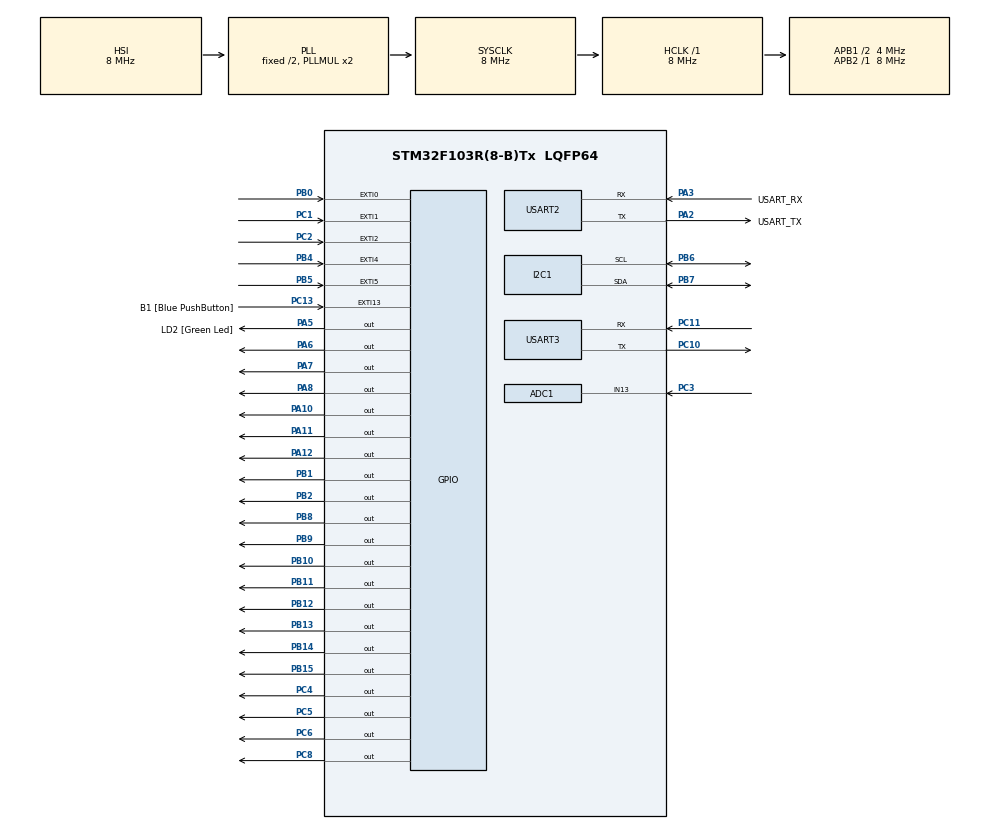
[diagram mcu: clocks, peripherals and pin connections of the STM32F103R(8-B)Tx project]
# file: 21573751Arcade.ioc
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ADC1.Channel-0\#ChannelRegularConversion=ADC_CHANNEL_13
ADC1.NbrOfConversionFlag=1
ADC1.Rank-0\#ChannelRegularConversion=1
ADC1.SamplingTime-0\#ChannelRegularConversion=ADC_SAMPLETIME_1CYCLE_5
ADC1.master=1
Mcu.Family=STM32F1
Mcu.Name=STM32F103R(8-B)Tx
Mcu.Package=LQFP64
NVIC.EXTI0_IRQn=true\:0\:0\:false\:false\:true\:true\:true
NVIC.EXTI15_10_IRQn=true\:0\:0\:false\:false\:true\:true\:true
NVIC.EXTI1_IRQn=true\:0\:0\:false\:false\:true\:true\:true
NVIC.EXTI2_IRQn=true\:0\:0\:false\:false\:true\:true\:true
NVIC.EXTI4_IRQn=true\:0\:0\:false\:false\:true\:true\:true
NVIC.EXTI9_5_IRQn=true\:0\:0\:false\:false\:true\:true\:true
NVIC.PriorityGroup=NVIC_PRIORITYGROUP_4
NVIC.USART3_IRQn=true\:0\:0\:false\:false\:true\:true\:true
PA10.Signal=GPIO_Output
PA11.Signal=GPIO_Output
PA12.Signal=GPIO_Output
PA13.GPIO_Label=TMS
PA13.Mode=Serial_Wire
PA13.Signal=SYS_JTMS-SWDIO
PA14.GPIO_Label=TCK
PA14.Mode=Serial_Wire
PA14.Signal=SYS_JTCK-SWCLK
PA2.GPIO_Label=USART_TX
PA2.GPIO_Mode=GPIO_MODE_AF_PP
PA2.GPIO_PuPd=GPIO_NOPULL
PA2.GPIO_Speed=GPIO_SPEED_FREQ_LOW
PA2.Mode=Asynchronous
PA2.Signal=USART2_TX
PA3.GPIO_Label=USART_RX
PA3.GPIO_Mode=GPIO_MODE_AF_PP
PA3.GPIO_PuPd=GPIO_NOPULL
PA3.GPIO_Speed=GPIO_SPEED_FREQ_LOW
PA3.Mode=Asynchronous
PA3.Signal=USART2_RX
PA5.GPIO_Label=LD2 [Green Led]
PA5.GPIO_ModeDefaultOutputPP=GPIO_MODE_OUTPUT_PP
PA5.GPIO_PuPd=GPIO_NOPULL
PA5.GPIO_Speed=GPIO_SPEED_FREQ_LOW
PA5.Signal=GPIO_Output
PA6.Signal=GPIO_Output
PA7.Signal=GPIO_Output
PA8.Signal=GPIO_Output
PB0.Signal=GPXTI0
PB1.Signal=GPIO_Output
PB10.Signal=GPIO_Output
PB11.Signal=GPIO_Output
PB12.Signal=GPIO_Output
PB13.Signal=GPIO_Output
PB14.Signal=GPIO_Output
PB15.Signal=GPIO_Output
PB2.Signal=GPIO_Output
PB3.GPIO_Label=SWO
PB3.Signal=SYS_JTDO-TRACESWO
PB4.Signal=GPXTI4
PB5.Signal=GPXTI5
PB6.Mode=I2C
PB6.Signal=I2C1_SCL
PB7.Mode=I2C
PB7.Signal=I2C1_SDA
PB8.Signal=GPIO_Output
PB9.Signal=GPIO_Output
PC1.Signal=GPXTI1
PC10.Mode=Asynchronous
PC10.Signal=USART3_TX
PC11.Mode=Asynchronous
PC11.Signal=USART3_RX
PC13-TAMPER-RTC.GPIO_Label=B1 [Blue PushButton]
PC13-TAMPER-RTC.GPIO_PuPd=GPIO_NOPULL
PC13-TAMPER-RTC.Signal=GPXTI13
PC14-OSC32_IN.Mode=LSE-External-Oscillator
PC14-OSC32_IN.Signal=RCC_OSC32_IN
PC15-OSC32_OUT.Mode=LSE-External-Oscillator
PC15-OSC32_OUT.Signal=RCC_OSC32_OUT
PC2.Signal=GPXTI2
PC3.Signal=ADCx_IN13
PC4.Signal=GPIO_Output
PC5.Signal=GPIO_Output
PC6.Signal=GPIO_Output
PC8.Signal=GPIO_Output
PD0-OSC_IN.Mode=HSE-External-Clock-Source
PD0-OSC_IN.Signal=RCC_OSC_IN
PD1-OSC_OUT.Mode=HSE-External-Clock-Source
PD1-OSC_OUT.Signal=RCC_OSC_OUT
ProjectManager.HeapSize=0x200
ProjectManager.StackSize=0x400
ProjectManager.TargetToolchain=STM32CubeIDE
RCC.AHBFreq_Value=8000000
RCC.APB1CLKDivider=RCC_HCLK_DIV2
RCC.APB1Freq_Value=4000000
RCC.APB1TimFreq_Value=8000000
RCC.APB2Freq_Value=8000000
RCC.APB2TimFreq_Value=8000000
RCC.HCLKFreq_Value=8000000
RCC.RTCClockSelection=RCC_RTCCLKSOURCE_LSE
RCC.SYSCLKFreq_VALUE=8000000
RCC.SYSCLKSource=RCC_SYSCLKSOURCE_PLLCLK
RCC.USBFreq_Value=8000000
SH.ADCx_IN13.0=ADC1_IN13,IN13
USART2.VirtualMode=VM_ASYNC
USART3.VirtualMode=VM_ASYNC
board=NUCLEO-F103RB

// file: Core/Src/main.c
/* USER CODE BEGIN Header */
/**
  ******************************************************************************
  * @file           : main.c
  * @brief          : Main program body
  ******************************************************************************
  * @attention
  *
  * <h2><center>&copy; Copyright (c) 2021 STMicroelectronics.
  * All rights reserved.</center></h2>
  *
  * This software component is licensed by ST under BSD 3-Clause license,
  * the "License"; You may not use this file except in compliance with the
  * License. You may obtain a copy of the License at:
  *                        opensource.org/licenses/BSD-3-Clause
  *
  ******************************************************************************
  */
/* USER CODE END Header */

#include "main.h"

ADC_HandleTypeDef hadc1;

I2C_HandleTypeDef hi2c1;

UART_HandleTypeDef huart2;
UART_HandleTypeDef huart3;

/* USER CODE BEGIN PV */
volatile _Bool Up;
volatile _Bool Down;
volatile _Bool Left;
volatile _Bool Right;
volatile _Bool Middle;
uint32_t ms;
uint8_t vel;
_Bool ledMatrix[] = {
		0, 0, 0, 0, 0, 0, 0, 0,
		0, 0, 0, 0, 0, 0, 0, 0,
		0, 0, 0, 0, 0, 0, 0, 0,
		0, 0, 0, 0, 0, 0, 0, 0,
		0, 0, 0, 0, 0, 0, 0, 0,
		0, 0, 0, 0, 0, 0, 0, 0,
		0, 0, 0, 0, 0, 0, 0, 0,
		0, 0, 0, 0, 0, 0, 0, 0,
};
volatile _Bool ms100;
volatile _Bool varTim;
volatile uint32_t mod;
_Bool recd;
uint8_t recduart[10];

/* USER CODE END PV */

void SystemClock_Config(void);
static void MX_GPIO_Init(void);
static void MX_USART2_UART_Init(void);
static void MX_ADC1_Init(void);
static void MX_I2C1_Init(void);
static void MX_USART3_UART_Init(void);
/* USER CODE BEGIN PFP */
void Configuration();
void displayHome();
void resetLED();
void Maze();
void Tennis();
void Tennis2();
/* USER CODE END PFP */

int main(void)
{
  /* USER CODE BEGIN 1 */
	_Bool config = 1;
	ms = 0;
  /* USER CODE END 1 */

  /* MCU Configuration--------------------------------------------------------*/

  /* Reset of all peripherals, Initializes the Flash interface and the Systick. */
  HAL_Init();

  /* Configure the system clock */
  SystemClock_Config();

  /* Initialize all configured peripherals */
  MX_GPIO_Init();
  MX_USART2_UART_Init();
  MX_ADC1_Init();
  MX_I2C1_Init();
  MX_USART3_UART_Init();
  /* USER CODE BEGIN 2 */
	if (config) {
		HAL_Delay(100);
		Configuration();
	}

	Up = 0;
	Down = 0;
	Left = 0;
	Right = 0;
	Middle = 0;
	resetLED();
	displayHome();

  /* USER CODE END 2 */

  /* Infinite loop */
  /* USER CODE BEGIN WHILE */
  while (1)
  {
	  if (Left) {
	  			Up = 0;
	  			Down = 0;
	  			Left = 0;
	  			Right = 0;
	  			Middle = 0;
	  			resetLED();
	  			Maze();
	  			Up = 0;
	  			Down = 0;
	  			Left = 0;
	  			Right = 0;
	  			Middle = 0;
	  			resetLED();
	  			displayHome();
	  		}
	  		else if (Middle) {
	  			Up = 0;
	  			Down = 0;
	  			Left = 0;
	  			Right = 0;
	  			Middle = 0;
	  			resetLED();
	  			Tennis();
	  			Up = 0;
	  			Down = 0;
	  			Left = 0;
	  			Right = 0;
	  			Middle = 0;
	  			resetLED();
	  			displayHome();
	  		}
	  		else if (Right) {
	  			Up = 0;
	  			Down = 0;
	  			Left = 0;
	  			Right = 0;
	  			Middle = 0;
	  			resetLED();
	  			Tennis2();
	  			Up = 0;
	  			Down = 0;
	  			Left = 0;
	  			Right = 0;
	  			Middle = 0;
	  			resetLED();
	  			displayHome();
	  		}

    /* USER CODE END WHILE */

  }
}

void SystemClock_Config(void)
{
  RCC_OscInitTypeDef RCC_OscInitStruct = {0};
  RCC_ClkInitTypeDef RCC_ClkInitStruct = {0};
  RCC_PeriphCLKInitTypeDef PeriphClkInit = {0};

  /** Initializes the CPU, AHB and APB busses clocks
  */
  RCC_OscInitStruct.OscillatorType = RCC_OSCILLATORTYPE_HSI;
  RCC_OscInitStruct.HSIState = RCC_HSI_ON;
  RCC_OscInitStruct.HSICalibrationValue = RCC_HSICALIBRATION_DEFAULT;
  RCC_OscInitStruct.PLL.PLLState = RCC_PLL_ON;
  RCC_OscInitStruct.PLL.PLLSource = RCC_PLLSOURCE_HSI_DIV2;
  RCC_OscInitStruct.PLL.PLLMUL = RCC_PLL_MUL2;
  if (HAL_RCC_OscConfig(&RCC_OscInitStruct) != HAL_OK)
  {
    Error_Handler();
  }
  /** Initializes the CPU, AHB and APB busses clocks
  */
  RCC_ClkInitStruct.ClockType = RCC_CLOCKTYPE_HCLK|RCC_CLOCKTYPE_SYSCLK
                              |RCC_CLOCKTYPE_PCLK1|RCC_CLOCKTYPE_PCLK2;
  RCC_ClkInitStruct.SYSCLKSource = RCC_SYSCLKSOURCE_PLLCLK;
  RCC_ClkInitStruct.AHBCLKDivider = RCC_SYSCLK_DIV1;
  RCC_ClkInitStruct.APB1CLKDivider = RCC_HCLK_DIV2;
  RCC_ClkInitStruct.APB2CLKDivider = RCC_HCLK_DIV1;

  if (HAL_RCC_ClockConfig(&RCC_ClkInitStruct, FLASH_LATENCY_0) != HAL_OK)
  {
    Error_Handler();
  }
  PeriphClkInit.PeriphClockSelection = RCC_PERIPHCLK_ADC;
  PeriphClkInit.AdcClockSelection = RCC_ADCPCLK2_DIV2;
  if (HAL_RCCEx_PeriphCLKConfig(&PeriphClkInit) != HAL_OK)
  {
    Error_Handler();
  }
}

static void MX_ADC1_Init(void)
{

  ADC_ChannelConfTypeDef sConfig = {0};

  /** Common config
  */
  hadc1.Instance = ADC1;
  hadc1.Init.ScanConvMode = ADC_SCAN_DISABLE;
  hadc1.Init.ContinuousConvMode = DISABLE;
  hadc1.Init.DiscontinuousConvMode = DISABLE;
  hadc1.Init.ExternalTrigConv = ADC_SOFTWARE_START;
  hadc1.Init.DataAlign = ADC_DATAALIGN_RIGHT;
  hadc1.Init.NbrOfConversion = 1;
  if (HAL_ADC_Init(&hadc1) != HAL_OK)
  {
    Error_Handler();
  }
  /** Configure Regular Channel
  */
  sConfig.Channel = ADC_CHANNEL_13;
  sConfig.Rank = ADC_REGULAR_RANK_1;
  sConfig.SamplingTime = ADC_SAMPLETIME_1CYCLE_5;
  if (HAL_ADC_ConfigChannel(&hadc1, &sConfig) != HAL_OK)
  {
    Error_Handler();
  }

}

static void MX_I2C1_Init(void)
{

  hi2c1.Instance = I2C1;
  hi2c1.Init.ClockSpeed = 100000;
  hi2c1.Init.DutyCycle = I2C_DUTYCYCLE_2;
  hi2c1.Init.OwnAddress1 = 0;
  hi2c1.Init.AddressingMode = I2C_ADDRESSINGMODE_7BIT;
  hi2c1.Init.DualAddressMode = I2C_DUALADDRESS_DISABLE;
  hi2c1.Init.OwnAddress2 = 0;
  hi2c1.Init.GeneralCallMode = I2C_GENERALCALL_DISABLE;
  hi2c1.Init.NoStretchMode = I2C_NOSTRETCH_DISABLE;
  if (HAL_I2C_Init(&hi2c1) != HAL_OK)
  {
    Error_Handler();
  }

}

static void MX_USART2_UART_Init(void)
{

  huart2.Instance = USART2;
  huart2.Init.BaudRate = 115200;
  huart2.Init.WordLength = UART_WORDLENGTH_8B;
  huart2.Init.StopBits = UART_STOPBITS_1;
  huart2.Init.Parity = UART_PARITY_NONE;
  huart2.Init.Mode = UART_MODE_TX_RX;
  huart2.Init.HwFlowCtl = UART_HWCONTROL_NONE;
  huart2.Init.OverSampling = UART_OVERSAMPLING_16;
  if (HAL_UART_Init(&huart2) != HAL_OK)
  {
    Error_Handler();
  }

}

static void MX_USART3_UART_Init(void)
{

  huart3.Instance = USART3;
  huart3.Init.BaudRate = 115200;
  huart3.Init.WordLength = UART_WORDLENGTH_8B;
  huart3.Init.StopBits = UART_STOPBITS_1;
  huart3.Init.Parity = UART_PARITY_NONE;
  huart3.Init.Mode = UART_MODE_TX_RX;
  huart3.Init.HwFlowCtl = UART_HWCONTROL_NONE;
  huart3.Init.OverSampling = UART_OVERSAMPLING_16;
  if (HAL_UART_Init(&huart3) != HAL_OK)
  {
    Error_Handler();
  }

}

static void MX_GPIO_Init(void)
{
  GPIO_InitTypeDef GPIO_InitStruct = {0};

  /* GPIO Ports Clock Enable */
  __HAL_RCC_GPIOC_CLK_ENABLE();
  __HAL_RCC_GPIOD_CLK_ENABLE();
  __HAL_RCC_GPIOA_CLK_ENABLE();
  __HAL_RCC_GPIOB_CLK_ENABLE();

  /*Configure GPIO pin Output Level */
  HAL_GPIO_WritePin(GPIOA, LD2_Pin|GPIO_PIN_6|GPIO_PIN_7|GPIO_PIN_8
                          |GPIO_PIN_10|GPIO_PIN_11|GPIO_PIN_12, GPIO_PIN_RESET);

  /*Configure GPIO pin Output Level */
  HAL_GPIO_WritePin(GPIOC, GPIO_PIN_4|GPIO_PIN_5|GPIO_PIN_6|GPIO_PIN_8, GPIO_PIN_RESET);

  /*Configure GPIO pin Output Level */
  HAL_GPIO_WritePin(GPIOB, GPIO_PIN_1|GPIO_PIN_2|GPIO_PIN_10|GPIO_PIN_11
                          |GPIO_PIN_12|GPIO_PIN_13|GPIO_PIN_14|GPIO_PIN_15
                          |GPIO_PIN_8|GPIO_PIN_9, GPIO_PIN_RESET);

  /*Configure GPIO pins : B1_Pin PC1 PC2 */
  GPIO_InitStruct.Pin = B1_Pin|GPIO_PIN_1|GPIO_PIN_2;
  GPIO_InitStruct.Mode = GPIO_MODE_IT_RISING;
  GPIO_InitStruct.Pull = GPIO_NOPULL;
  HAL_GPIO_Init(GPIOC, &GPIO_InitStruct);

  /*Configure GPIO pins : LD2_Pin PA6 PA7 PA8
                           PA10 PA11 PA12 */
  GPIO_InitStruct.Pin = LD2_Pin|GPIO_PIN_6|GPIO_PIN_7|GPIO_PIN_8
                          |GPIO_PIN_10|GPIO_PIN_11|GPIO_PIN_12;
  GPIO_InitStruct.Mode = GPIO_MODE_OUTPUT_PP;
  GPIO_InitStruct.Pull = GPIO_NOPULL;
  GPIO_InitStruct.Speed = GPIO_SPEED_FREQ_LOW;
  HAL_GPIO_Init(GPIOA, &GPIO_InitStruct);

  /*Configure GPIO pins : PC4 PC5 PC6 PC8 */
  GPIO_InitStruct.Pin = GPIO_PIN_4|GPIO_PIN_5|GPIO_PIN_6|GPIO_PIN_8;
  GPIO_InitStruct.Mode = GPIO_MODE_OUTPUT_PP;
  GPIO_InitStruct.Pull = GPIO_NOPULL;
  GPIO_InitStruct.Speed = GPIO_SPEED_FREQ_LOW;
  HAL_GPIO_Init(GPIOC, &GPIO_InitStruct);

  /*Configure GPIO pins : PB0 PB4 PB5 */
  GPIO_InitStruct.Pin = GPIO_PIN_0|GPIO_PIN_4|GPIO_PIN_5;
  GPIO_InitStruct.Mode = GPIO_MODE_IT_RISING;
  GPIO_InitStruct.Pull = GPIO_NOPULL;
  HAL_GPIO_Init(GPIOB, &GPIO_InitStruct);

  /*Configure GPIO pins : PB1 PB2 PB10 PB11
                           PB12 PB13 PB14 PB15
                           PB8 PB9 */
  GPIO_InitStruct.Pin = GPIO_PIN_1|GPIO_PIN_2|GPIO_PIN_10|GPIO_PIN_11
                          |GPIO_PIN_12|GPIO_PIN_13|GPIO_PIN_14|GPIO_PIN_15
                          |GPIO_PIN_8|GPIO_PIN_9;
  GPIO_InitStruct.Mode = GPIO_MODE_OUTPUT_PP;
  GPIO_InitStruct.Pull = GPIO_NOPULL;
  GPIO_InitStruct.Speed = GPIO_SPEED_FREQ_LOW;
  HAL_GPIO_Init(GPIOB, &GPIO_InitStruct);

  /* EXTI interrupt init*/
  HAL_NVIC_SetPriority(EXTI0_IRQn, 0, 0);
  HAL_NVIC_EnableIRQ(EXTI0_IRQn);

  HAL_NVIC_SetPriority(EXTI1_IRQn, 0, 0);
  HAL_NVIC_EnableIRQ(EXTI1_IRQn);

  HAL_NVIC_SetPriority(EXTI2_IRQn, 0, 0);
  HAL_NVIC_EnableIRQ(EXTI2_IRQn);

  HAL_NVIC_SetPriority(EXTI4_IRQn, 0, 0);
  HAL_NVIC_EnableIRQ(EXTI4_IRQn);

  HAL_NVIC_SetPriority(EXTI9_5_IRQn, 0, 0);
  HAL_NVIC_EnableIRQ(EXTI9_5_IRQn);

  HAL_NVIC_SetPriority(EXTI15_10_IRQn, 0, 0);
  HAL_NVIC_EnableIRQ(EXTI15_10_IRQn);

}

/* USER CODE BEGIN 4 */
void Configuration()
{
	uint32_t now = 0;
	uint8_t i = 0;
	uint8_t posStr[] = "$1_______\n";

	HAL_UART_Transmit(&huart2,(uint8_t*) "$21573751\n", 10, 100);
	posStr[2] = '0';
	HAL_UART_Transmit(&huart2, posStr, 10, 100);
	now = ms;
	for (i = 0; i<8; i++){
		ledMatrix[8*i] = 1;
	}
	while((ms-now)<1000){
	}
	for (i = 0; i<8; i++){
		ledMatrix[8*i] = 0;
	}

	posStr[2] = '1';
	HAL_UART_Transmit(&huart2, posStr, 10, 100);
	now = ms;
	for (i = 0; i<8; i++){
		ledMatrix[8*i+1] = 1;
	}
	while((ms-now)<1000){
	}
	for (i = 0; i<8; i++){
		ledMatrix[8*i+1] = 0;
	}

	posStr[2] = '2';
	HAL_UART_Transmit(&huart2,posStr, 10, 100);
	now = ms;
	for (i = 0; i<8; i++){
		ledMatrix[8*i+2] = 1;
	}
	while((ms-now)<1000){
	}
	for (i = 0; i<8; i++){
		ledMatrix[8*i+2] = 0;
	}

	posStr[2] = '3';
	HAL_UART_Transmit(&huart2,posStr, 10, 100);
	now = ms;
	for (i = 0; i<8; i++){
		ledMatrix[8*i+3] = 1;
	}
	while((ms-now)<1000){
	}
	for (i = 0; i<8; i++){
		ledMatrix[8*i+3] = 0;
	}

	posStr[2] = '4';
	HAL_UART_Transmit(&huart2, posStr, 10, 100);
	now = ms;
	for (i = 0; i<8; i++){
		ledMatrix[8*i+4] = 1;
	}
	while((ms-now)<1000){
	}
	for (i = 0; i<8; i++){
		ledMatrix[8*i+4] = 0;
	}

	posStr[2] = '5';
	HAL_UART_Transmit(&huart2, posStr, 10, 100);
	now = ms;
	for (i = 0; i<8; i++){
		ledMatrix[8*i+5] = 1;
	}
	while((ms-now)<1000){
	}
	for (i = 0; i<8; i++){
		ledMatrix[8*i+5] = 0;
	}

	posStr[2] = '6';
	HAL_UART_Transmit(&huart2, posStr, 10, 100);
	now = ms;
	for (i = 0; i<8; i++){
		ledMatrix[8*i+6] = 1;
	}
	while((ms-now)<1000){
	}
	for (i = 0; i<8; i++){
		ledMatrix[8*i+6] = 0;
	}

	posStr[2] = '7';
	HAL_UART_Transmit(&huart2, posStr, 10, 100);
	now = ms;
	for (i = 0; i<8; i++){
		ledMatrix[8*i+7] = 1;
	}
	while((ms-now)<1000){
	}
	for (i = 0; i<8; i++){
		ledMatrix[8*i+7] = 0;
	}

	return;
}

void displayHome()
{
	ledMatrix[0] = 1;
	ledMatrix[7] = 1;
	ledMatrix[56] = 1;
	ledMatrix[63] = 1;

	return;
}

void resetLED(){
	uint8_t i = 0;
	uint8_t j = 0;

	for (i = 0; i<8; i++){
		for (j = 0; j<8; j++){
			ledMatrix[i+8*j] = 0;
		}
	}
}

void Maze()
{
	uint8_t xpos = 0;
	uint8_t ypos = 0;
	uint8_t endPosX = 7;
	uint8_t endPosY = 7;
	uint8_t posStr[] = "$300_____\n";
	_Bool gameEnd = 0;
	uint8_t maze1[] = {
			0, 0, 0, 0, 0, 0, 1, 0,
			1, 1, 0, 1, 1, 0, 0, 0,
			0, 0, 0, 0, 0, 0, 1, 0,
			0, 1, 1, 1, 1, 1, 0, 1,
			0, 0, 0, 0, 1, 0, 0, 0,
			1, 1, 0, 1, 1, 0, 1, 0,
			0, 0, 0, 1, 0, 0, 1, 0,
			0, 1, 0, 0, 0, 1, 1, 0,
	};
	uint8_t maze2[] = {
			0, 0, 0, 0, 0, 0, 0, 0,
			0, 1, 0, 1, 0, 1, 1, 0,
			0, 0, 1, 0, 1, 0, 0, 0,
			0, 1, 0, 0, 0, 0, 1, 1,
			0, 0, 1, 1, 1, 1, 0, 0,
			1, 0, 1, 0, 0, 1, 1, 0,
			0, 0, 1, 0, 0, 0, 1, 0,
			0, 0, 0, 0, 1, 0, 0, 0,
	};
	uint8_t maze3[] = {
			0, 0, 0, 1, 1, 0, 0, 0,
			0, 1, 0, 0, 1, 0, 1, 0,
			0, 0, 1, 0, 1, 0, 1, 0,
			1, 0, 1, 0, 0, 0, 1, 0,
			0, 0, 1, 0, 1, 1, 1, 0,
			0, 1, 0, 0, 1, 0, 0, 0,
			0, 1, 0, 1, 1, 0, 1, 1,
			0, 0, 0, 0, 1, 0, 0, 0,
	};
	uint8_t maze4[] = {
			0, 1, 0, 1, 0, 0, 0, 0,
			0, 1, 0, 0, 0, 1, 1, 0,
			0, 1, 1, 1, 1, 0, 0, 0,
			0, 1, 0, 0, 1, 0, 1, 0,
			0, 1, 0, 1, 0, 0, 1, 0,
			0, 0, 0, 0, 0, 1, 0, 0,
			1, 1, 1, 1, 1, 1, 0, 1,
			0, 0, 0, 0, 0, 0, 0, 0,
	};
	uint8_t one[] = {
			0, 0, 0, 0, 0, 0, 0, 0,
			0, 0, 0, 1, 0, 0, 0, 0,
			0, 0, 0, 1, 0, 0, 0, 0,
			0, 0, 0, 1, 0, 0, 0, 0,
			0, 0, 0, 1, 0, 0, 0, 0,
			0, 0, 0, 1, 0, 0, 0, 0,
			0, 0, 0, 1, 0, 0, 0, 0,
			0, 0, 0, 0, 0, 0, 0, 0,
	};
	uint8_t two[] = {
			0, 0, 0, 0, 0, 0, 0, 0,
			0, 0, 0, 1, 1, 0, 0, 0,
			0, 0, 1, 0, 0, 1, 0, 0,
			0, 0, 0, 0, 0, 1, 0, 0,
			0, 0, 0, 0, 1, 0, 0, 0,
			0, 0, 0, 1, 0, 0, 0, 0,
			0, 0, 1, 1, 1, 1, 0, 0,
			0, 0, 0, 0, 0, 0, 0, 0,
	};
	uint8_t three[] = {
			0, 0, 0, 0, 0, 0, 0, 0,
			0, 0, 1, 1, 0, 0, 0, 0,
			0, 0, 0, 0, 1, 0, 0, 0,
			0, 0, 1, 1, 0, 0, 0, 0,
			0, 0, 0, 0, 1, 0, 0, 0,
			0, 0, 0, 0, 1, 0, 0, 0,
			0, 0, 1, 1, 0, 0, 0, 0,
			0, 0, 0, 0, 0, 0, 0, 0,
	};
	uint8_t four[] = {
			0, 0, 0, 0, 0, 0, 0, 0,
			0, 0, 0, 0, 0, 0, 1, 0,
			0, 0, 0, 0, 0, 1, 0, 0,
			0, 0, 0, 0, 1, 0, 0, 0,
			0, 0, 0, 1, 0, 1, 0, 0,
			0, 0, 1, 1, 1, 1, 1, 0,
			0, 0, 0, 0, 0, 1, 0, 0,
			0, 0, 0, 0, 0, 0, 0, 0,
	};
	uint8_t i = 0;
	uint8_t j = 0;
	_Bool ledOn = 0;
	uint8_t mazeNumber = 1;
	_Bool changeMaze = 0;
	uint8_t i2c[2];
	int16_t imuX;
	int16_t imuY;

	Up = 0;
	Down = 0;
	Middle = 0;

	for (i = 0; i<8; i++){
		for (j = 0; j<8; j++){
			ledMatrix[8*i+j] = one[8*i+j];
		}
		HAL_GPIO_WritePin(LED1A, LED1, GPIO_PIN_SET);
	}
	while(!Middle){
		if(Up) {
			mazeNumber++;
			if (mazeNumber>4){
				mazeNumber = 4;
			}
			changeMaze = 1;
			Up = 0;
		}
		if(Down){
			mazeNumber--;
			if (mazeNumber < 1){
				mazeNumber = 1;
			}
			changeMaze = 1;
			Down = 0;
		}
		if (changeMaze) {
			HAL_GPIO_WritePin(LED1A, LED1, GPIO_PIN_RESET);
			HAL_GPIO_WritePin(LED2A, LED2, GPIO_PIN_RESET);
			HAL_GPIO_WritePin(LED3A, LED3, GPIO_PIN_RESET);
			HAL_GPIO_WritePin(LED4A, LED4, GPIO_PIN_RESET);
			switch (mazeNumber){
			case 1:
				for (i = 0; i<8; i++){
					for (j = 0; j<8; j++){
						ledMatrix[8*i+j] = one[8*i+j];
					}
				}
				HAL_GPIO_WritePin(LED1A, LED1, GPIO_PIN_SET);
				break;
			case 2:
				for (i = 0; i<8; i++){
					for (j = 0; j<8; j++){
						ledMatrix[8*i+j] = two[8*i+j];
					}
				}
				HAL_GPIO_WritePin(LED2A, LED2, GPIO_PIN_SET);
				break;
			case 3:
				for (i = 0; i<8; i++){
					for (j = 0; j<8; j++){
						ledMatrix[8*i+j] = three[8*i+j];
					}
				}
				HAL_GPIO_WritePin(LED3A, LED3, GPIO_PIN_SET);
				break;
			case 4:
				for (i = 0; i<8; i++){
					for (j = 0; j<8; j++){
						ledMatrix[8*i+j] = four[8*i+j];
					}
				}
				HAL_GPIO_WritePin(LED4A, LED4, GPIO_PIN_SET);
				break;
			}
			changeMaze = 0;
		}
	}

	Middle = 0;
	switch (mazeNumber){
	case 1:
		for (i = 0; i<8; i++){
			for (j = 0; j<8; j++){
				ledMatrix[8*i+j] = maze1[8*i+j];
			}
		}
		endPosX = 7;
		endPosY = 7;
		break;
	case 2:
		for (i = 0; i<8; i++){
			for (j = 0; j<8; j++){
				ledMatrix[8*i+j] = maze2[8*i+j];
			}
		}
		endPosX = 3;
		endPosY = 3;
		break;
	case 3:
		for (i = 0; i<8; i++){
			for (j = 0; j<8; j++){
				ledMatrix[8*i+j] = maze3[8*i+j];
			}
		}
		endPosX = 7;
		endPosY = 7;
		break;
	case 4:
		for (i = 0; i<8; i++){
			for (j = 0; j<8; j++){
				ledMatrix[8*i+j] = maze4[8*i+j];
			}
		}
		endPosX = 2;
		endPosY = 0;
		break;
	}
	vel = 9;
	mod = 0;
	ms100 = 0;
	varTim = 0;

	while(!varTim){
	}
	while ((!Middle)&&(!gameEnd))
	{
		if(ms100)
		{
			ms100 = 0;
			ledMatrix[endPosX + 8*endPosY] = 1 - ledMatrix[endPosX + 8*endPosY];
		}
		if(varTim)
		{
			ledOn = 1 - ledOn;
			varTim = 0;
			if(Left && xpos>0 && ((ledMatrix[xpos-1 + 8*ypos] == 0)||((xpos == endPosX+1) && (ypos == endPosY))))
			{
				ledMatrix[xpos+8*ypos] = 0;
				xpos -= 1;
			}
			else if(Right && xpos<7  && ((ledMatrix[xpos+1 + 8*ypos] == 0)||((xpos == endPosX-1) && (ypos == endPosY))))
			{
				ledMatrix[xpos+8*ypos] = 0;
				xpos += 1;
			}
			Left = 0;
			Right = 0;
			if(Up && ypos>0 && ((ledMatrix[xpos + 8*(ypos-1)] == 0)||((xpos == endPosX) && (ypos == endPosY+1))))
			{
				ledMatrix[xpos+8*ypos] = 0;
				ypos -= 1;
			}
			else if(Down && ypos<7  && ((ledMatrix[xpos + 8*(ypos+1)] == 0)||((xpos == endPosX) && (ypos == endPosY-1))))
			{
				ledMatrix[xpos+8*ypos] = 0;
				ypos += 1;
			}
			Up = 0;
			Down = 0;

			posStr[6] = 'N';
			i2c[0] = 0x37;
			HAL_I2C_Mem_Write(&hi2c1, 0x32, 0x20, 1, (uint8_t*) i2c, 1, 100);
			i2c[0] = 0x08;
			HAL_I2C_Mem_Write(&hi2c1, 0x32, 0x23, 1, (uint8_t*) i2c, 1, 100);
			HAL_I2C_Mem_Read(&hi2c1, 0x33, 0xA8, 1, i2c, 2, 100);
			imuX = (i2c[1]<<4)+(i2c[0]>>4);
			if ((imuX>>11) == 1){
				imuX = (0xF<<12) + imuX;
			}
			if (imuX>512) {
				if (xpos>0 && ((ledMatrix[xpos-1 + 8*ypos] == 0)||((xpos == endPosX+1) && (ypos == endPosY)))) {
					ledMatrix[xpos+8*ypos] = 0;
					xpos--;
				}
				posStr[6] = 'L';
			}
			else if (imuX<-512) {
				if (xpos<7  && ((ledMatrix[xpos+1 + 8*ypos] == 0)||((xpos == endPosX-1) && (ypos == endPosY)))) {
					ledMatrix[xpos+8*ypos] = 0;
					xpos++;
				}
				posStr[6] = 'R';
			}
			HAL_I2C_Mem_Read(&hi2c1, 0x33, 0xAA, 1, i2c, 2, 100);
			imuY = (i2c[1]<<4)+(i2c[0]>>4);
			if ((imuY>>11) == 1){
				imuY = (0xF<<12) + imuY;
			}
			if (imuY>512) {
				if (ypos<7  && ((ledMatrix[xpos + 8*(ypos+1)] == 0)||((xpos == endPosX) && (ypos == endPosY-1)))) {
					ledMatrix[xpos+8*ypos] = 0;
					ypos++;
				}
				posStr[6] = 'D';
			}
			else if (imuY<-512) {
				if (ypos>0 && ((ledMatrix[xpos + 8*(ypos-1)] == 0)||((xpos == endPosX) && (ypos == endPosY+1)))) {
					ledMatrix[xpos+8*ypos] = 0;
					ypos--;
				}
				posStr[6] = 'U';
			}

			if (ledOn){
				ledMatrix[xpos+8*ypos] = 1;
			}
			else {
				ledMatrix[xpos+8*ypos] = 0;
			}
			posStr[2] = xpos+48;
			posStr[3] = ypos+48;
			if (ledMatrix[xpos+8*ypos]) {
				posStr[4] = 49;
			}
			else {
				posStr[4] = 48;
			}
			if (ledMatrix[63]) {
				posStr[5] = 49;
			}
			else {
				posStr[5] = 48;
			}
			HAL_UART_Transmit(&huart2, posStr, 10, 100);
			if ((xpos == endPosX) && (ypos == endPosY))
			{
				gameEnd = 1;
			}
		}
	}
	HAL_GPIO_WritePin(LED1A, LED1, GPIO_PIN_RESET);
	HAL_GPIO_WritePin(LED2A, LED2, GPIO_PIN_RESET);
	HAL_GPIO_WritePin(LED3A, LED3, GPIO_PIN_RESET);
	HAL_GPIO_WritePin(LED4A, LED4, GPIO_PIN_RESET);
	return;
}

void Tennis()
{
	uint8_t xpos = 0;
	uint8_t ypos = 4;
	uint8_t xpospre = 0;
	uint8_t ypospre = 0;
	uint8_t posStr[] = "$200_____\n";
	uint8_t ballX = 7;
	uint8_t ballY = 4;
	uint8_t ballXpre = 0;
	uint8_t ballYpre = 0;
	uint8_t dir = 0;
	uint8_t hitCtr = 0;
	_Bool gameEnd = 0;
	uint8_t i2c[2];
	int16_t imuX;
	int16_t imuY;

	vel = 1;
	mod = 0;
	varTim = 0;
	while(!varTim){
	}
	varTim = 0;
	ms100 = 0;
	while(!ms100){
	}
	ms100 = 0;

	posStr[8] = 'N';
	i2c[0] = 0x37;
	HAL_I2C_Mem_Write(&hi2c1, 0x32, 0x20, 1, (uint8_t*) i2c, 1, 100);
	i2c[0] = 0x08;
	HAL_I2C_Mem_Write(&hi2c1, 0x32, 0x23, 1, (uint8_t*) i2c, 1, 100);
	HAL_I2C_Mem_Read(&hi2c1, 0x33, 0xA8, 1, i2c, 2, 100);
	imuX = (i2c[1]<<4)+(i2c[0]>>4);
	if ((imuX>>11) == 1){
		imuX = (0xF<<12) + imuX;
	}
	if (imuX>512) {
		if (xpos>0) {
			xpos--;
		}
		posStr[8] = 'L';
	}
	else if (imuX<-512) {
		if (xpos<7) {
			xpos++;
		}
		posStr[8] = 'R';
	}
	HAL_I2C_Mem_Read(&hi2c1, 0x33, 0xAA, 1, i2c, 2, 100);
	imuY = (i2c[1]<<4)+(i2c[0]>>4);
	if ((imuY>>11) == 1){
		imuY = (0xF<<12) + imuY;
	}
	if (imuY>512) {
		if (ypos<6) {
			ypos++;
		}
		posStr[8] = 'D';
	}
	else if (imuY<-512) {
		if (ypos>0) {
			ypos--;
		}
		posStr[8] = 'U';
	}
	ledMatrix[xpos+8*ypos] = 1;
	ledMatrix[xpos+8*(ypos+1)] = 1;
	ledMatrix[ballX + 8*ballY] = 1;
	posStr[2] = ballX+48;
	posStr[3] = ballY+48;
	posStr[4] = vel+48;
	posStr[5] = dir+48;
	posStr[6] = xpos+48;
	posStr[7] = ypos+48;
	HAL_UART_Transmit(&huart2, posStr, 10, 100);
	Up = 0;
	Down = 0;
	Left = 0;
	Right = 0;

	while((!Middle)&&(!gameEnd)){
		if(ms100){
			ms100 = 0;
			xpospre = xpos;
			ypospre = ypos;
			if(Up) {
				if (ypos>0){
					ypos--;
				}
			}
			else if(Down) {
				if (ypos<6){
					ypos++;
				}
			}
			if(Right) {
				if (xpos<7){
					xpos++;
				}
			}
			else if(Left) {
				if (xpos>0){
					xpos--;
				}
			}
			Up = 0;
			Down = 0;
			Left = 0;
			Right = 0;

			posStr[8] = 'N';
			i2c[0] = 0x37;
			HAL_I2C_Mem_Write(&hi2c1, 0x32, 0x20, 1, (uint8_t*) i2c, 1, 100);
			i2c[0] = 0x08;
			HAL_I2C_Mem_Write(&hi2c1, 0x32, 0x23, 1, (uint8_t*) i2c, 1, 100);
			HAL_I2C_Mem_Read(&hi2c1, 0x33, 0xA8, 1, i2c, 2, 100);
			imuX = (i2c[1]<<4)+(i2c[0]>>4);
			if ((imuX>>11) == 1){
				imuX = (0xF<<12) + imuX;
			}
			if (imuX>512) {
				if (xpos>0) {
					xpos--;
				}
				posStr[8] = 'L';
			}
			else if (imuX<-512) {
				if (xpos<7) {
					xpos++;
				}
				posStr[8] = 'R';
			}
			HAL_I2C_Mem_Read(&hi2c1, 0x33, 0xAA, 1, i2c, 2, 100);
			imuY = (i2c[1]<<4)+(i2c[0]>>4);
			if ((imuY>>11) == 1){
				imuY = (0xF<<12) + imuY;
			}
			if (imuY>512) {
				if (ypos<6) {
					ypos++;
				}
				posStr[8] = 'D';
			}
			else if (imuY<-512) {
				if (ypos>0) {
					ypos--;
				}
				posStr[8] = 'U';
			}

			ledMatrix[xpospre+8*ypospre] = 0;
			ledMatrix[xpospre+8*(ypospre+1)] = 0;
			ledMatrix[xpos+8*ypos] = 1;
			ledMatrix[xpos+8*(ypos+1)] = 1;
			ledMatrix[ballX + 8*ballY] = 1;
			posStr[2] = ballX+48;
			posStr[3] = ballY+48;
			posStr[4] = vel+48;
			posStr[5] = dir+48;
			posStr[6] = xpos+48;
			posStr[7] = ypos+48;
			HAL_UART_Transmit(&huart2, posStr, 10, 100);
		}
		if (varTim)
		{
			varTim = 0;
			ballXpre = ballX;
			ballYpre = ballY;
			switch(dir) {
			case 0:
				if (ledMatrix[ballX-1 + 8*ballY])
				{
					if(ballY == ypos)
					{
						ballX++;
						ballY--;
						dir = 4;
						hitCtr++;
					}
					else if(ballY == (ypos+1))
					{
						ballX++;
						ballY++;
						dir = 2;
						hitCtr++;
					}
				}
				else {
					ballX--;
				}
				break;
			case 1:
				if ((ballX+1) > 7)
				{
					ballX--;
					dir = 0;
				}
				else {
					ballX++;
				}
				break;
			case 2:
				if (((ballX+1) > 7) && ((ballY+1) > 7))
				{
					ballX--;
					ballY--;
					dir = 3;
				}
				else if ((ballX+1) > 7)
				{
					ballX--;
					ballY++;
					dir = 5;
				}
				else if ((ballY+1) > 7)
				{
					ballX++;
					ballY--;
					dir = 4;
				}
				else {
					ballX++;
					ballY++;
				}
				break;
			case 3:
				if ((ballY-1) < 0)
				{
					if (ledMatrix[ballX-1 + 8*(ballY+1)]){
						ballX++;
						ballY++;
						dir = 2;
						hitCtr++;
					}
					else {
						ballX--;
						ballY++;
						dir = 5;
					}
				}
				else if (ledMatrix[ballX-1 + 8*(ballY-1)])
				{
					if((ballY-1) == ypos)
					{
						ballX++;
						ballY--;
						dir = 4;
						hitCtr++;
					}
					else if((ballY-1) == (ypos+1))
					{
						ballX++;
						ballY++;
						dir = 2;
						hitCtr++;
					}
				}
				else{
					ballX--;
					ballY--;
				}
				break;
			case 4:
				if (((ballX+1) > 7) && ((ballY-1) < 0))
				{
					ballX--;
					ballY++;
					dir = 5;
				}
				else if ((ballX+1) > 7)
				{
					ballX--;
					ballY--;
					dir = 3;
				}
				else if ((ballY-1) < 0)
				{
					ballX++;
					ballY++;
					dir = 2;
				}
				else{
					ballX++;
					ballY--;
				}
				break;
			case 5:
				if ((ballY+1) > 7)
				{
					if (ledMatrix[ballX-1 + 8*(ballY-1)]){
						ballX++;
						ballY--;
						dir = 4;
						hitCtr++;
					}
					else {
						ballX--;
						ballY--;
						dir = 3;
					}
				}
				else if (ledMatrix[ballX-1 + 8*(ballY+1)])
				{
					if((ballY+1) == ypos)
					{
						ballX++;
						ballY--;
						dir = 4;
						hitCtr++;
					}
					else if((ballY+1) == (ypos+1))
					{
						ballX++;
						ballY++;
						dir = 2;
						hitCtr++;
					}
				}
				else {
					ballX--;
					ballY++;
				}
				break;
			}
			ledMatrix[ballXpre + 8*ballYpre] = 0;
			ledMatrix[ballX + 8*ballY] = 1;

			if (ballX == 0)
			{
				while (!ms100){
				}
				posStr[2] = ballX+48;
				posStr[3] = ballY+48;
				posStr[4] = vel+48;
				posStr[5] = dir+48;
				posStr[6] = xpos+48;
				posStr[7] = ypos+48;
				HAL_UART_Transmit(&huart2, posStr, 10, 100);
				while (!varTim){
				}
				varTim = 0;
				gameEnd = 1;
			}
			else if((hitCtr==3)&&(vel<10))
			{
				vel++;
				mod = ms%(750-vel*50);
				hitCtr=0;
			}
		}
	}
	return;
}

void Tennis2()
{
	uint8_t xpos = 0;
	uint8_t ypos = 4;
	uint8_t xpospre = 0;
	uint8_t ypospre = 0;
	uint8_t posStr[] = "$2_______\n";
	uint8_t posStrEnd[] = "$2_______\n";
	uint8_t ballX = 7;
	uint8_t ballY = 4;
	uint8_t ballXpre = 0;
	uint8_t ballYpre = 0;
	uint8_t dir = 0;
	uint8_t hitCtr = 0;
	_Bool gameEnd = 0;
	_Bool gameEndO = 0;
	uint8_t i2c[2];
	int16_t imuX;
	int16_t imuY;
	_Bool rec = 0;

	HAL_UART_Transmit(&huart3, posStrEnd, 10, 100);
	vel = 1;
	mod = 0;
	varTim = 0;
	while(!varTim){
	}
	varTim = 0;
	ms100 = 0;
	while(!ms100){
	}
	ms100 = 0;

	posStr[8] = 'N';
	i2c[0] = 0x37;
	HAL_I2C_Mem_Write(&hi2c1, 0x32, 0x20, 1, (uint8_t*) i2c, 1, 100);
	i2c[0] = 0x08;
	HAL_I2C_Mem_Write(&hi2c1, 0x32, 0x23, 1, (uint8_t*) i2c, 1, 100);
	HAL_I2C_Mem_Read(&hi2c1, 0x33, 0xA8, 1, i2c, 2, 100);
	imuX = (i2c[1]<<4)+(i2c[0]>>4);
	if ((imuX>>11) == 1){
		imuX = (0xF<<12) + imuX;
	}
	if (imuX>512) {
		if (xpos>0) {
			xpos--;
		}
		posStr[8] = 'L';
	}
	else if (imuX<-512) {
		if (xpos<7) {
			xpos++;
		}
		posStr[8] = 'R';
	}
	HAL_I2C_Mem_Read(&hi2c1, 0x33, 0xAA, 1, i2c, 2, 100);
	imuY = (i2c[1]<<4)+(i2c[0]>>4);
	if ((imuY>>11) == 1){
		imuY = (0xF<<12) + imuY;
	}
	if (imuY>512) {
		if (ypos<6) {
			ypos++;
		}
		posStr[8] = 'D';
	}
	else if (imuY<-512) {
		if (ypos>0) {
			ypos--;
		}
		posStr[8] = 'U';
	}
	ledMatrix[xpos+8*ypos] = 1;
	ledMatrix[xpos+8*(ypos+1)] = 1;
	ledMatrix[ballX + 8*ballY] = 1;
	posStr[2] = ballX+48;
	posStr[3] = ballY+48;
	posStr[4] = vel+48;
	posStr[5] = dir+48;
	posStr[6] = xpos+48;
	posStr[7] = ypos+48;
	HAL_UART_Transmit(&huart2, posStr, 10, 100);
	Up = 0;
	Down = 0;
	Left = 0;
	Right = 0;
	HAL_UART_Receive_IT(&huart3, posStr, 10);
	recd = 0;

	while((!Middle)&&(!gameEnd)){
		if(ms100){
			ms100 = 0;
			xpospre = xpos;
			ypospre = ypos;
			if(Up) {
				if (ypos>0){
					ypos--;
				}
			}
			else if(Down) {
				if (ypos<6){
					ypos++;
				}
			}
			if(Right) {
				if (xpos<7){
					xpos++;
				}
			}
			else if(Left) {
				if (xpos>0){
					xpos--;
				}
			}
			Up = 0;
			Down = 0;
			Left = 0;
			Right = 0;

			posStr[8] = 'N';
			i2c[0] = 0x37;
			HAL_I2C_Mem_Write(&hi2c1, 0x32, 0x20, 1, (uint8_t*) i2c, 1, 100);
			i2c[0] = 0x08;
			HAL_I2C_Mem_Write(&hi2c1, 0x32, 0x23, 1, (uint8_t*) i2c, 1, 100);
			HAL_I2C_Mem_Read(&hi2c1, 0x33, 0xA8, 1, i2c, 2, 100);
			imuX = (i2c[1]<<4)+(i2c[0]>>4);
			if ((imuX>>11) == 1){
				imuX = (0xF<<12) + imuX;
			}
			if (imuX>512) {
				if (xpos>0) {
					xpos--;
				}
				posStr[8] = 'L';
			}
			else if (imuX<-512) {
				if (xpos<7) {
					xpos++;
				}
				posStr[8] = 'R';
			}
			HAL_I2C_Mem_Read(&hi2c1, 0x33, 0xAA, 1, i2c, 2, 100);
			imuY = (i2c[1]<<4)+(i2c[0]>>4);
			if ((imuY>>11) == 1){
				imuY = (0xF<<12) + imuY;
			}
			if (imuY>512) {
				if (ypos<6) {
					ypos++;
				}
				posStr[8] = 'D';
			}
			else if (imuY<-512) {
				if (ypos>0) {
					ypos--;
				}
				posStr[8] = 'U';
			}
			if(!rec) {
				ledMatrix[ballX + 8*ballY] = 1;
				posStr[2] = ballX+48;
				posStr[3] = ballY+48;
			}
			else {
				posStr[2] = ':';
				posStr[3] = ')';
			}
			ledMatrix[xpospre+8*ypospre] = 0;
			ledMatrix[xpospre+8*(ypospre+1)] = 0;
			ledMatrix[xpos+8*ypos] = 1;
			ledMatrix[xpos+8*(ypos+1)] = 1;
			posStr[4] = vel+48;
			posStr[5] = dir+48;
			posStr[6] = xpos+48;
			posStr[7] = ypos+48;
			HAL_UART_Transmit(&huart2, posStr, 10, 100);
			if(recd){
				if (recduart[5] == '_'){
					gameEnd = 1;
					gameEndO = 1;
				}
				recd = 0;
			}
		}

		if (varTim && rec)
		{
			varTim = 0;
			ledMatrix[ballX + 8*ballY] = 0;
			if (recd){
				recd = 0;
				rec = 0;
				dir = recduart[5]-48;
				if (recduart[5] == '_'){
					gameEnd = 1;
					gameEndO = 1;
				}
				else {
					ballX = 7;
					if (dir == 3) {
						ballY = recduart[3] - 48 - 1;
						if (ballY < 0){
							dir = 5;
							ballY = 1;
						}
					}
					else if (dir == 5) {
						ballY = recduart[3] - 48 - 1;
						if (ballY < 7){
							dir = 3;
							ballY = 6;
						}
					}
					else {
						dir = 0;
						ballY = recduart[3] - 48;
					}
					ledMatrix[ballX + 8*ballY] = 1;
				}
			}
		}

		if (varTim && !rec)
		{
			varTim = 0;
			ballXpre = ballX;
			ballYpre = ballY;
			switch(dir) {
			case 0:
				if (ledMatrix[ballX-1 + 8*ballY])
				{
					if(ballY == ypos)
					{
						ballX++;
						ballY--;
						dir = 4;
						hitCtr++;
					}
					else if(ballY == (ypos+1))
					{
						ballX++;
						ballY++;
						dir = 2;
						hitCtr++;
					}
				}
				else {
					ballX--;
				}
				break;
			case 1:
				if ((ballX+1) > 7)
				{
					ballX--;
					dir = 0;
				}
				else {
					ballX++;
				}
				break;
			case 2:
				if (((ballX+1) > 7) && ((ballY+1) > 7))
				{
					ballX--;
					ballY--;
					dir = 3;
				}
				else if ((ballX+1) > 7)
				{
					ballX--;
					ballY++;
					dir = 5;
				}
				else if ((ballY+1) > 7)
				{
					ballX++;
					ballY--;
					dir = 4;
				}
				else {
					ballX++;
					ballY++;
				}
				break;
			case 3:
				if ((ballY-1) < 0)
				{
					if (ledMatrix[ballX-1 + 8*(ballY+1)]){
						ballX++;
						ballY++;
						dir = 2;
						hitCtr++;
					}
					else {
						ballX--;
						ballY++;
						dir = 5;
					}
				}
				else if (ledMatrix[ballX-1 + 8*(ballY-1)])
				{
					if((ballY-1) == ypos)
					{
						ballX++;
						ballY--;
						dir = 4;
						hitCtr++;
					}
					else if((ballY-1) == (ypos+1))
					{
						ballX++;
						ballY++;
						dir = 2;
						hitCtr++;
					}
				}
				else{
					ballX--;
					ballY--;
				}
				break;
			case 4:
				if (((ballX+1) > 7) && ((ballY-1) < 0))
				{
					ballX--;
					ballY++;
					dir = 5;
				}
				else if ((ballX+1) > 7)
				{
					ballX--;
					ballY--;
					dir = 3;
				}
				else if ((ballY-1) < 0)
				{
					ballX++;
					ballY++;
					dir = 2;
				}
				else{
					ballX++;
					ballY--;
				}
				break;
			case 5:
				if ((ballY+1) > 7)
				{
					if (ledMatrix[ballX-1 + 8*(ballY-1)]){
						ballX++;
						ballY--;
						dir = 4;
						hitCtr++;
					}
					else {
						ballX--;
						ballY--;
						dir = 3;
					}
				}
				else if (ledMatrix[ballX-1 + 8*(ballY+1)])
				{
					if((ballY+1) == ypos)
					{
						ballX++;
						ballY--;
						dir = 4;
						hitCtr++;
					}
					else if((ballY+1) == (ypos+1))
					{
						ballX++;
						ballY++;
						dir = 2;
						hitCtr++;
					}
				}
				else {
					ballX--;
					ballY++;
				}
				break;
			}
			ledMatrix[ballXpre + 8*ballYpre] = 0;
			ledMatrix[ballX + 8*ballY] = 1;
			if ((ballX+1) > 7) {
				rec = 1;
			}
			if (ballX == 0)
			{
				while (!ms100){
				}
				posStr[2] = ballX+48;
				posStr[3] = ballY+48;
				posStr[4] = vel+48;
				posStr[5] = dir+48;
				posStr[6] = xpos+48;
				posStr[7] = ypos+48;
				HAL_UART_Transmit(&huart2, posStr, 10, 100);
				while (!varTim){
				}
				varTim = 0;
				gameEnd = 1;
			}
		}

	}

	if (!gameEndO) {
		HAL_UART_Transmit(&huart3, posStrEnd, 10, 100);
	}

	return;
}

void HAL_UART_RxCpltCallback(UART_HandleTypeDef *huart)
{
  /* Prevent unused argument(s) compilation warning */
  recd = 1;
  HAL_UART_Receive_IT(&huart3, recduart, 10);
  /* NOTE: This function should not be modified, when the callback is needed,
           the HAL_UART_RxCpltCallback could be implemented in the user file
   */
}
/* USER CODE END 4 */

void Error_Handler(void)
{
}

/************************ (C) COPYRIGHT STMicroelectronics *****END OF FILE****/
